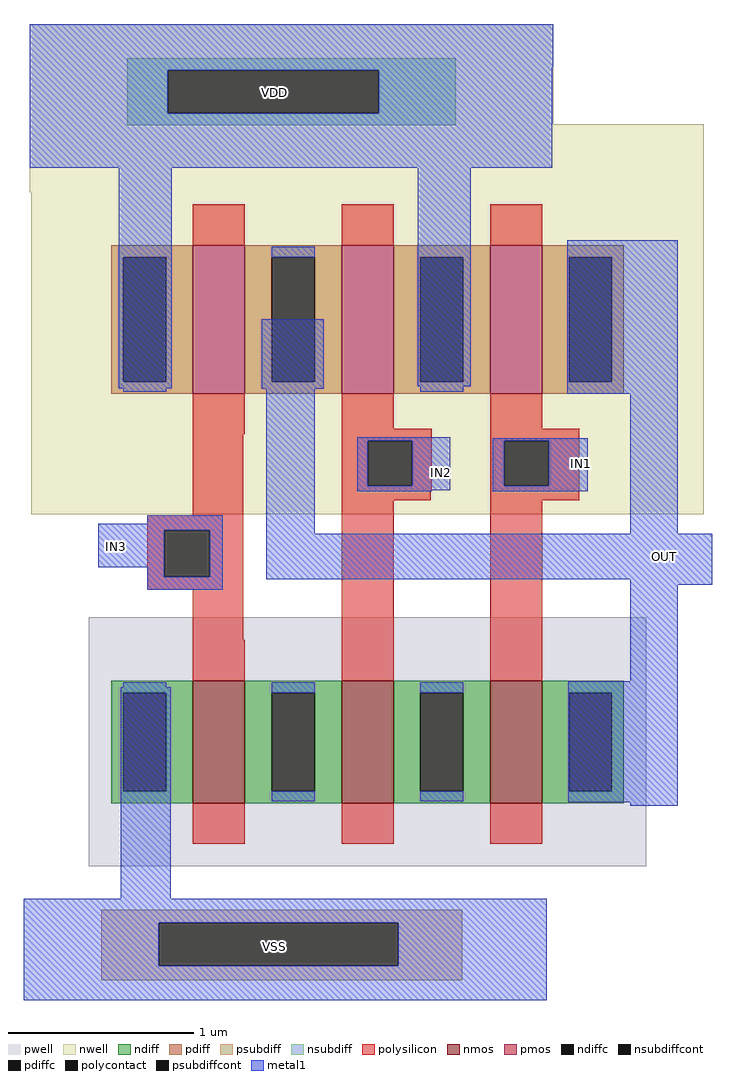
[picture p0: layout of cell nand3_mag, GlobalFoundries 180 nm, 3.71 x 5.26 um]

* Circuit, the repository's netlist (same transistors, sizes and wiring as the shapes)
* NGSPICE file created from nand3_mag.ext - technology: gf180mcuC

.subckt nmos_3p3_VGTVWA a_n116_n66# a_28_n66# a_n28_n110# VSUBS
X0 a_28_n66# a_n28_n110# a_n116_n66# VSUBS nfet_03v3 ad=0.29p pd=2.2u as=0.29p ps=2.2u w=0.66u l=0.28u
.ends

.subckt pmos_3p3_M8SWPS a_n28_n124# a_n116_n80# a_28_n80# w_n202_n210#
X0 a_28_n80# a_n28_n124# a_n116_n80# w_n202_n210# pfet_03v3 ad=0.352p pd=2.48u as=0.352p ps=2.48u w=0.8u l=0.28u
.ends

.subckt nand3_mag IN3 IN2 IN1 VDD VSS OUT
Xnmos_3p3_VGTVWA_0 nmos_3p3_VGTVWA_1/a_28_n66# nmos_3p3_VGTVWA_0/a_28_n66# IN2 VSS
+ nmos_3p3_VGTVWA
Xnmos_3p3_VGTVWA_1 VSS nmos_3p3_VGTVWA_1/a_28_n66# IN3 VSS nmos_3p3_VGTVWA
Xnmos_3p3_VGTVWA_2 nmos_3p3_VGTVWA_0/a_28_n66# OUT IN1 VSS nmos_3p3_VGTVWA
Xpmos_3p3_M8SWPS_0 IN1 VDD OUT VDD pmos_3p3_M8SWPS
Xpmos_3p3_M8SWPS_1 IN3 VDD OUT VDD pmos_3p3_M8SWPS
Xpmos_3p3_M8SWPS_2 IN2 OUT VDD VDD pmos_3p3_M8SWPS
.ends

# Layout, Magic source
magic
tech gf180mcuC
magscale 1 10
<< nwell >>
rect -64 682 500 863
rect 295 365 304 418
rect 345 366 354 417
rect 382 361 389 418
rect 485 417 528 421
rect 435 414 484 417
rect 485 414 529 417
rect 435 365 447 414
rect 435 360 442 365
rect 485 364 528 414
<< psubdiff >>
rect 13 -105 402 -91
rect 13 -151 75 -105
rect 333 -151 402 -105
rect 13 -167 402 -151
<< nsubdiff >>
rect 41 813 395 826
rect 41 767 85 813
rect 312 767 395 813
rect 41 754 395 767
<< psubdiffcont >>
rect 75 -151 333 -105
<< nsubdiffcont >>
rect 85 767 312 813
<< polysilicon >>
rect 289 421 369 427
rect 112 334 166 421
rect 63 318 166 334
rect 63 268 81 318
rect 130 268 166 318
rect 63 254 166 268
rect 112 200 166 254
rect 272 414 369 421
rect 272 366 300 414
rect 348 366 369 414
rect 272 360 369 366
rect 432 414 528 427
rect 432 366 447 414
rect 495 366 528 414
rect 272 350 368 360
rect 432 350 528 366
rect 272 200 328 350
rect 432 200 488 350
<< polycontact >>
rect 81 268 130 318
rect 300 366 348 414
rect 447 366 495 414
<< metal1 >>
rect -64 817 500 863
rect -64 813 499 817
rect -64 767 85 813
rect 312 767 499 813
rect -64 708 499 767
rect 32 471 89 708
rect 186 470 253 545
rect 354 473 411 708
rect 63 325 144 334
rect 10 318 144 325
rect 10 278 81 318
rect 63 268 81 278
rect 130 268 144 318
rect 63 254 144 268
rect 191 314 243 470
rect 515 465 634 630
rect 289 414 389 418
rect 289 366 300 414
rect 348 366 389 414
rect 289 361 389 366
rect 435 414 537 417
rect 435 366 447 414
rect 495 366 537 414
rect 289 360 369 361
rect 435 360 537 366
rect 583 314 634 465
rect 191 265 671 314
rect 583 259 671 265
rect 583 155 634 259
rect 34 -79 88 149
rect 516 25 634 155
rect 583 21 634 25
rect -70 -105 493 -79
rect -70 -151 75 -105
rect 333 -151 493 -105
rect -70 -188 493 -151
use nmos_3p3_VGTVWA  nmos_3p3_VGTVWA_0
transform 1 0 300 0 1 90
box -140 -134 140 134
use nmos_3p3_VGTVWA  nmos_3p3_VGTVWA_1
transform 1 0 140 0 1 90
box -140 -134 140 134
use nmos_3p3_VGTVWA  nmos_3p3_VGTVWA_2
transform 1 0 460 0 1 90
box -140 -134 140 134
use pmos_3p3_M8SWPS  pmos_3p3_M8SWPS_0
transform 1 0 460 0 1 545
box -202 -210 202 210
use pmos_3p3_M8SWPS  pmos_3p3_M8SWPS_1
transform 1 0 140 0 1 545
box -202 -210 202 210
use pmos_3p3_M8SWPS  pmos_3p3_M8SWPS_2
transform 1 0 300 0 1 545
box -202 -210 202 210
<< labels >>
flabel metal1 30 300 30 300 0 FreeSans 320 0 0 0 IN3
port 0 nsew
flabel metal1 380 380 380 380 0 FreeSans 320 0 0 0 IN2
port 1 nsew
flabel metal1 530 390 530 390 0 FreeSans 320 0 0 0 IN1
port 2 nsew
flabel psubdiffcont 200 -130 200 -130 0 FreeSans 320 0 0 0 VSS
port 4 nsew
flabel metal1 620 290 620 290 0 FreeSans 320 0 0 0 OUT
port 5 nsew
flabel nsubdiffcont 200 789 200 789 0 FreeSans 320 0 0 0 VDD
port 3 nsew
<< end >>

# cell nmos_3p3_VGTVWA: kit device nmos_3p3, w 0.660 l 0.280 m 1 nf 1 diffcov 100 polycov 100 guard 0 glc 0 grc 0 gtc 0 gbc 0 tbcov 100 rlcov 100 topc 0 botc 0 poverlap 0 doverlap 1 lmin 0.28 wmin 0.22 full_metal 0 compatible {nmos_3p3 nmos_6p0 nmos_6p0_nat}

# cell pmos_3p3_M8SWPS: kit device pmos_3p3, w 0.80 l 0.280 m 1 nf 1 diffcov 100 polycov 100 guard 0 glc 0 grc 0 gtc 0 gbc 0 tbcov 100 rlcov 100 topc 0 botc 0 poverlap 0 doverlap 1 lmin 0.28 wmin 0.22 full_metal 0 compatible {pmos_3p3 pmos_6p0}
